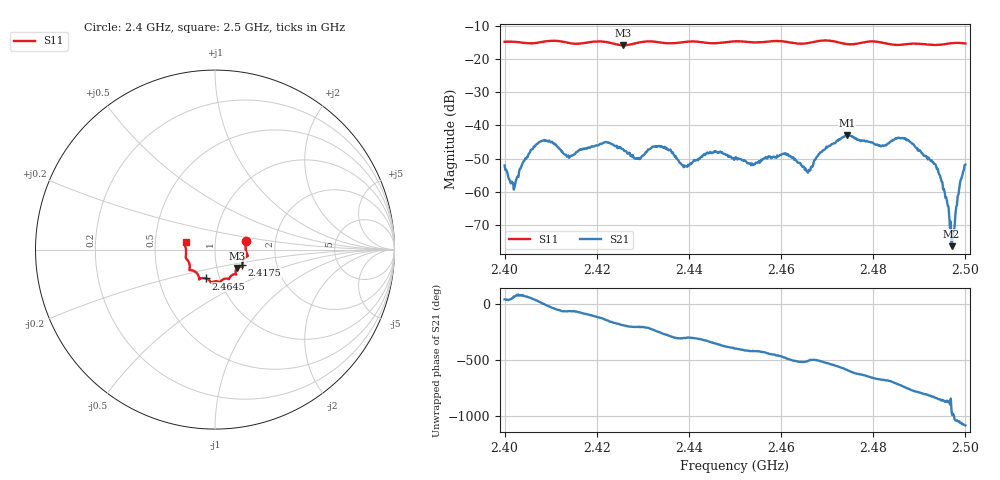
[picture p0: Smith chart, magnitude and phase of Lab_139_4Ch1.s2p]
# Hz S RI R 50
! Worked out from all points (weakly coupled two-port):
!   601 points, 2.4 GHz to 2.5 GHz, reference 50 ohm
!   highest |S21| = -43.03 dB at 2.4743 GHz (marker M1); lowest = -76.4 dB at 2.497 GHz (marker M2)
!   lowest |S11| = -15.9 dB at 2.4257 GHz (marker M3), VSWR 1.38, Z = 62.5 - j13.1 ohm
!   |S11| at or under -10 dB: start of sweep to end of sweep
!   S12 and S22 are empty: the file has one direction only
!   S11 on the Smith chart (normalised r, x): 2.4 GHz: 1.41, +0.14; 2.4175 GHz: 1.34, -0.23; 2.4645 GHz: 0.86, -0.28; 2.5 GHz: 0.72, +0.06
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2.4e9  0.1732 0.0486  0.00194 0.00156  0 0  0 0
2.401833e9  0.1758 0.0415  0.000865 0.00106  0 0  0 0
2.407833e9  0.1767 -0.0195  0.00561 0.00103  0 0  0 0
2.413833e9  0.1675 -0.0455  0.0014 -0.00322  0 0  0 0
2.416667e9  0.153 -0.0742  0.0006 -0.00421  0 0  0 0
2.4175e9  0.152 -0.0836  -5.02e-05 -0.00448  0 0  0 0
2.425667e9  0.1228 -0.1025  -0.00429 0.000906  0 0  0 0
2.429e9  0.1152 -0.1311  -0.0028 0.00147  0 0  0 0
2.433333e9  0.1129 -0.1371  -0.00151 0.00456  0 0  0 0
2.439167e9  0.0802 -0.1602  0.00148 0.0019  0 0  0 0
2.444333e9  0.061 -0.161  0.00355 0.00133  0 0  0 0
2.45e9  0.0287 -0.1809  0.00239 -0.00209  0 0  0 0
2.461e9  -0.0264 -0.1787  -0.00218 -0.0031  0 0  0 0
2.4645e9  -0.0518 -0.1605  -0.00228 -0.000899  0 0  0 0
2.466667e9  -0.0759 -0.1595  -0.00192 -0.00142  0 0  0 0
2.474333e9  -0.1004 -0.1324  -0.00441 0.00551  0 0  0 0
2.483333e9  -0.1407 -0.0901  0.00457 0.00274  0 0  0 0
2.487167e9  -0.1564 -0.055  0.005 -0.00327  0 0  0 0
2.493167e9  -0.1608 -0.0119  -0.00115 -0.00237  0 0  0 0
2.495833e9  -0.1663 0.0182  -0.000697 -0.000456  0 0  0 0
2.497e9  -0.1694 0.0271  -6.94e-05 0.000135  0 0  0 0
2.5e9  -0.164 0.0428  0.00253 -0.000371  0 0  0 0
